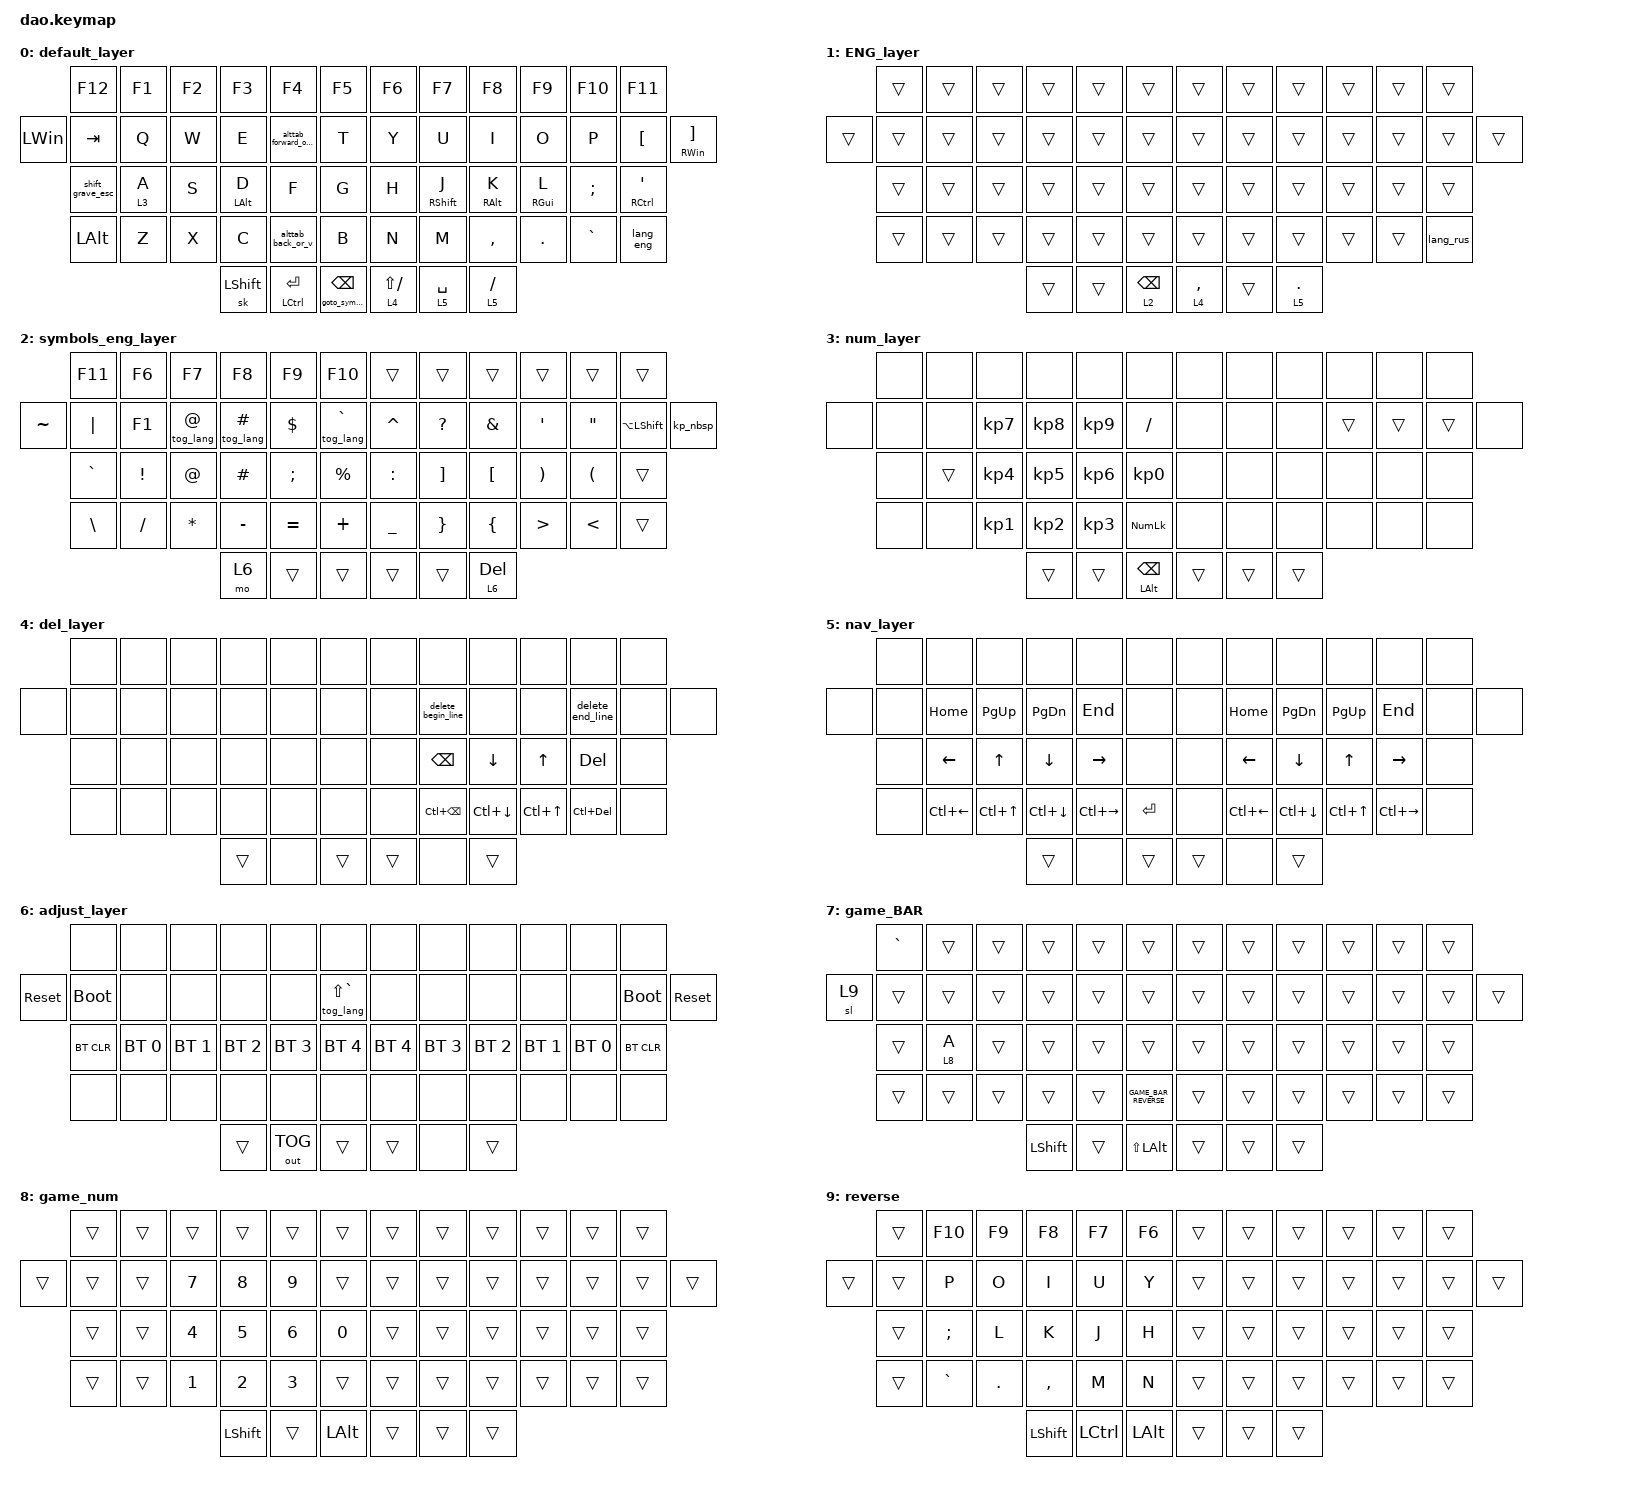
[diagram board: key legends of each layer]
/*
 * Copyright (c) 2021 Rafael Yumagulov
 *
 * SPDX-License-Identifier: MIT
 */

#include <behaviors.dtsi>
#include <dt-bindings/zmk/bt.h>
#include <dt-bindings/zmk/keys.h>
#include <dt-bindings/zmk/outputs.h>

#define DEF 0
#define LWR 1
#define RSE 2
#define ADJ 3
#define LR_NUM 4
#define LR_DEL 5
#define LR_NAV 6

&lt {
    quick_tap_ms = <200>;
    flavor = "balanced";
};

&mt {
};

&sl {
    ignore-modifiers;
    release-after-ms = <3000>;
};

/ {
    macros {
        delete_end_line: delete_end_line {
            label = "delete_end_line";
            compatible = "zmk,behavior-macro";
            #binding-cells = <0>;
            bindings = <&macro_tap>, <&kp LS(END) &kp DEL>;
        };

        delete_begin_line: delete_begin_line {
            label = "delete_begin_line";
            compatible = "zmk,behavior-macro";
            #binding-cells = <0>;
            bindings = <&macro_tap>, <&kp LS(HOME) &kp DEL>;
        };

        lang_shift: lang_shift {
            compatible = "zmk,behavior-macro";
            #binding-cells = <0>;
            bindings = <&kp LA(LSHIFT) &tog 1>;
            label = "LANG_SHIFT";
        };

        lang_eng: lang_eng {
            compatible = "zmk,behavior-macro";
            #binding-cells = <0>;
            bindings = <&kp LA(LSHIFT) &to 1>;
            label = "LANG_ENG";
        };

        lang_rus: lang_rus {
            compatible = "zmk,behavior-macro";
            #binding-cells = <0>;
            bindings = <&kp LA(LSHIFT) &to 0>;
            label = "LANG_RUS";
        };

        goto_symbol_layer_changelang: goto_symbol_layer_changelang {
            compatible = "zmk,behavior-macro";
            #binding-cells = <0>;
            bindings =
                <&macro_wait_time 0>,
                <&macro_tap_time 0>,
                <&macro_tap>,
                <&kp LA(LEFT_SHIFT)>,
                <&macro_press>,
                <&mo 2>,
                <&macro_pause_for_release>,
                <&macro_release>,
                <&mo 2>,
                <&macro_tap>,
                <&kp LA(LEFT_SHIFT)>;

            label = "GOTO_SYMBOL_LAYER_CHANGELANG";
            tap-ms = <1>;
            wait-ms = <1>;
        };

        tog_lang: tog_lang {
            compatible = "zmk,behavior-macro-one-param";
            #binding-cells = <1>;
            bindings =
                <&macro_tap>,
                <&kp LA(LEFT_SHIFT) &macro_param_1to1 &kp MACRO_PLACEHOLDER>,
                <&macro_tap>,
                <&kp LA(LEFT_SHIFT)>;

            label = "TOG_LANG";
            tap-ms = <1>;
            wait-ms = <1>;
        };

        kp_nbsp: kp_nbsp {
            compatible = "zmk,behavior-macro";
            #binding-cells = <0>;
            bindings =
                <&macro_press>,
                <&kp LEFT_ALT>,
                <&macro_tap>,
                <&kp KP_N0 &kp KP_NUMBER_1 &kp KP_NUMBER_6 &kp KP_NUMBER_0>,
                <&macro_release>,
                <&kp LALT>;

            label = "KP_NBSP";
        };

        sl_w_modifier: new_macro {
            compatible = "zmk,behavior-macro-two-param";
            #binding-cells = <2>;
            bindings =
                <&macro_press>,
                <&macro_param_1to1 &kp MACRO_PLACEHOLDER &macro_param_2to1 &sl MACRO_PLACEHOLDER>,
                <&macro_pause_for_release>,
                <&macro_release>,
                <&macro_param_1to1 &kp MACRO_PLACEHOLDER>;

            label = "NEW_MACRO";
        };
    };
};

/ {
    behaviors {
        alttab_back_or_v: alt_tab_backward {
            compatible = "zmk,behavior-mod-morph";
            label = "ALT_TAB_V";
            #binding-cells = <0>;
            bindings = <&kp V>, <&kp LS(TAB)>;

            mods = <(MOD_LALT)>;
            keep-mods = <(MOD_LALT)>;
        };

        alttab_forward_or_r: alt_tab_forward {
            compatible = "zmk,behavior-mod-morph";
            label = "ALT_TAB_R";
            #binding-cells = <0>;
            bindings = <&kp R>, <&kp TAB>;

            mods = <(MOD_LALT)>;
            keep-mods = <(MOD_LALT)>;
        };

        ALT: alt_for_alttab {
            compatible = "zmk,behavior-hold-tap";
            label = "ALTTAB";
            #binding-cells = <2>;
            flavor = "tap-preferred";
            tapping-term-ms = <150>;
            retro-tap;
            bindings = <&kp>, <&kp>;

            hold-trigger-key-positions = <17 42>;
        };

        shift_grave_esc: shift_grave_esc {
            compatible = "zmk,behavior-mod-morph";
            label = "SHIFT_GRAVE_ESC";
            bindings = <&kp ESC>, <&kp LS(GRAVE)>;

            #binding-cells = <0>;
            mods = <(MOD_LSFT)>;
            keep-mods = <(MOD_LSFT)>;
        };

        SYM_LAYER_or_tap: SYM_LAYER_or_tap {
            compatible = "zmk,behavior-hold-tap";
            label = "SYM_LAYER_OR_TAP";
            bindings = <&goto_symbol_layer_changelang>, <&kp>;

            #binding-cells = <2>;
            flavor = "balanced";
            tapping-term-ms = <150>;
        };

        homerow_right: homerow_right {
            compatible = "zmk,behavior-hold-tap";
            label = "HOMEROW_RIGHT";
            bindings = <&kp>, <&kp>;

            #binding-cells = <2>;
            hold-trigger-key-positions = <12 26 13 0 1 14 27 39 38 40 28 15 2 3 29 16 41 42 30 17 4 5 18 43 31 51 50 52>;
            flavor = "tap-preferred";
            retro-tap;
            tapping-term-ms = <200>;
        };

        hold_pref_ht: hold_pref_ht {
            compatible = "zmk,behavior-hold-tap";
            label = "HOLD_PREF_HT";
            bindings = <&mo>, <&kp>;

            #binding-cells = <2>;
            tapping-term-ms = <100>;
        };

        GAME_BAR_REVERSE: GAME_BAR_REVERSE {
            compatible = "zmk,behavior-mod-morph";
            label = "GAME_BAR_REVERSE";
            bindings = <&trans>, <&mo 9>;

            #binding-cells = <0>;
            mods = <(MOD_LCTL)>;
        };
    };
};

/ {
    combos {
        compatible = "zmk,combos";

        combo_navigatio {
            timeout-ms = <70>;
            key-positions = <51 43>;
            bindings = <&mo 5>;
        };

        combo_collapse {
            timeout-ms = <50>;
            key-positions = <30 42>;
            bindings = <&kp LG(M)>;
        };

        combo_printscreen {
            timeout-ms = <50>;
            key-positions = <30 17>;
            bindings = <&kp RG(RS(S))>;
        };

        combo_ctl_enter {
            timeout-ms = <30>;
            key-positions = <31 18>;
            bindings = <&kp LC(RET)>;
        };

        goto_default_layer {
            bindings = <&to 0>;
            key-positions = <12 25>;
            timeout-ms = <200>;
            layers = <1>;
        };

        ctrl_shift {
            bindings = <&kp LC(LEFT_SHIFT)>;
            key-positions = <51 50>;
            timeout-ms = <100>;
        };

        go_to_eng_layer {
            bindings = <&to 1>;
            key-positions = <12 25>;
            timeout-ms = <200>;
            layers = <0>;
        };

        TOGGLE_GAME_MOD {
            bindings = <&tog 7>;
            key-positions = <5 4 3 2>;
            timeout-ms = <200>;
        };

        go_to_reverse {
            bindings = <&mo 9>;
            key-positions = <51 43>;
            timeout-ms = <200>;
            layers = <7>;
        };
    };
};

/ {
    keymap {
        compatible = "zmk,keymap";

        default_layer {
            // -----------------------------------------------------------------------------------------
            // |  GUI |   ~  |  Q  |  W  |  E  |  R  |  T  |   |  Y  |  U   |  I  |  O  |  P  |  [   | GUI/] |
            //        | CTRL |  A  |  S  |  D  |  F  |  G  |   |  H  |  J   |  K  |  L  |  ;  |CTRL/'|
            //        | LALT |  Z  |  X  |  C  |  V  |  B  |   |  N  |  M   |  ,  |  .  |  /  | RALT |
            //                           | RSE | SPC | LWR |   | LWR | BKSP | RSE |

            bindings = <
          &kp F12           &kp F1   &kp F2  &kp F3       &kp F4                &kp F5                           &kp F6          &kp F7                        &kp F8                      &kp F9                      &kp F10    &kp F11
&kp LWIN  &kp TAB           &kp Q    &kp W   &kp E        &alttab_forward_or_r  &kp T                            &kp Y           &kp U                         &kp I                       &kp O                       &kp P      &kp LBKT       &mt RWIN RBKT
          &shift_grave_esc  &lt 3 A  &kp S   &ALT LALT D  &kp F                 &kp G                            &kp H           &homerow_right RIGHT_SHIFT J  &homerow_right RIGHT_ALT K  &homerow_right RIGHT_GUI L  &kp SEMI   &mt RCTRL SQT
          &kp LALT          &kp Z    &kp X   &kp C        &alttab_back_or_v     &kp B                            &kp N           &kp M                         &kp COMMA                   &kp DOT                     &kp GRAVE  &lang_eng
                                             &sk LSHFT    &mt LCTRL RET         &SYM_LAYER_or_tap 0 BACKSPACE    &lt 4 LS(FSLH)  &lt 5 SPACE                   &lt 5 FSLH
            >;
        };

        ENG_layer {
            bindings = <
        &trans  &trans  &trans  &trans  &trans  &trans        &trans       &trans  &trans     &trans  &trans  &trans
&trans  &trans  &trans  &trans  &trans  &trans  &trans        &trans       &trans  &trans     &trans  &trans  &trans     &trans
        &trans  &trans  &trans  &trans  &trans  &trans        &trans       &trans  &trans     &trans  &trans  &trans
        &trans  &trans  &trans  &trans  &trans  &trans        &trans       &trans  &trans     &trans  &trans  &lang_rus
                                &trans  &trans  &lt 2 BSPC    &lt 4 COMMA  &trans  &lt 5 DOT
            >;
        };

        symbols_eng_layer {
            // -----------------------------------------------------------------------------------------
            // |     |  _  |  F1 |  F2 |  F3 |  F4 |  F5 |   |  F6 |  F7 |  F8 |  F9 | F10 | F11 | F12 |
            //       |  +  |  !  |  @  |  #  |  $  |  %  |   |  ^  |  &  |  *  |  (  |  )  |  -  |
            //       |  =  |  1  |  2  |  3  |  4  |  5  |   |  6  |  7  |  8  |  9  |  0  |     |
            //                    | GUI |     | SPC |   | ENT |     | ALT |

            bindings = <
           &kp F11        &kp F6     &kp F7        &kp F8          &kp F9     &kp F10            &trans     &trans             &trans            &trans            &trans             &trans
&kp TILDE  &kp PIPE       &kp F1     &tog_lang AT  &tog_lang HASH  &kp DLLR   &tog_lang GRAVE    &kp CARET  &kp QUESTION       &kp AMPERSAND     &kp SINGLE_QUOTE  &kp DOUBLE_QUOTES  &kp LA(LSHFT)  &kp_nbsp
           &kp GRAVE      &kp EXCL   &kp AT        &kp HASH        &kp SEMI   &kp PRCNT          &kp COLON  &kp RIGHT_BRACKET  &kp LEFT_BRACKET  &kp RPAR          &kp LPAR           &trans
           &kp BACKSLASH  &kp SLASH  &kp ASTERISK  &kp MINUS       &kp EQUAL  &kp PLUS           &kp UNDER  &kp RIGHT_BRACE    &kp LEFT_BRACE    &kp GREATER_THAN  &kp LESS_THAN      &trans
                                                   &mo 6           &trans     &trans             &trans     &trans             &lt 6 DEL
            >;
        };

        num_layer {
            bindings = <
       &none  &none   &none            &none            &none            &none                     &none   &none   &none   &none   &none   &none
&none  &none  &none   &kp KP_NUMBER_7  &kp KP_NUMBER_8  &kp KP_NUMBER_9  &kp SLASH                 &none   &none   &none   &trans  &trans  &trans  &none
       &none  &trans  &kp KP_NUMBER_4  &kp KP_NUMBER_5  &kp KP_NUMBER_6  &kp KP_NUMBER_0           &none   &none   &none   &none   &none   &none
       &none  &none   &kp KP_NUMBER_1  &kp KP_NUMBER_2  &kp KP_NUMBER_3  &kp KP_NUMLOCK            &none   &none   &none   &none   &none   &none
                                       &trans           &trans           &mt LEFT_ALT BACKSPACE    &trans  &trans  &trans
            >;
        };

        del_layer {
            bindings = <
       &none  &none  &none  &none   &none  &none     &none   &none               &none         &none       &none             &none
&none  &none  &none  &none  &none   &none  &none     &none   &delete_begin_line  &none         &none       &delete_end_line  &none  &none
       &none  &none  &none  &none   &none  &none     &none   &kp BSPC            &kp DOWN      &kp UP      &kp DEL           &none
       &none  &none  &none  &none   &none  &none     &none   &kp LC(BSPC)        &kp LC(DOWN)  &kp LC(UP)  &kp LC(DEL)       &none
                            &trans  &none  &trans    &trans  &none               &trans
            >;
        };

        nav_layer {
            bindings = <
       &none  &none         &none       &none          &none          &none      &none   &none         &none         &none       &none          &none
&none  &none  &kp HOME      &kp PG_UP   &kp PAGE_DOWN  &kp END        &none      &none   &kp HOME      &kp PG_DN     &kp PG_UP   &kp END        &none  &none
       &none  &kp LEFT      &kp UP      &kp DOWN       &kp RIGHT      &none      &none   &kp LEFT      &kp DOWN      &kp UP      &kp RIGHT      &none
       &none  &kp LC(LEFT)  &kp LC(UP)  &kp LC(DOWN)   &kp LC(RIGHT)  &kp RET    &none   &kp LC(LEFT)  &kp LC(DOWN)  &kp LC(UP)  &kp LC(RIGHT)  &none
                                        &trans         &none          &trans     &trans  &none         &trans
            >;
        };

        adjust_layer {
            // -----------------------------------------------------------------------------------------
            // | RST | BLDR |     |     |     |     |     |   |     |     |     |     |     | BLDR | RST |
            //       | BTCLR| BT0 | BT1 | BT2 | BT3 | BT4 |   | BT4 | BT3 | BT2 | BT1 | BT0 | BTCLR|
            //       |      |     |     |     |     |     |   |     |     |     |     |     |      |
            //                          |     |     |     |   |     |     |     |

            bindings = <
            &none        &none         &none         &none         &none         &none                  &none         &none         &none         &none         &none         &none
&sys_reset  &bootloader  &none         &none         &none         &none         &tog_lang LS(GRAVE)    &none         &none         &none         &none         &none         &bootloader  &sys_reset
            &bt BT_CLR   &bt BT_SEL 0  &bt BT_SEL 1  &bt BT_SEL 2  &bt BT_SEL 3  &bt BT_SEL 4           &bt BT_SEL 4  &bt BT_SEL 3  &bt BT_SEL 2  &bt BT_SEL 1  &bt BT_SEL 0  &bt BT_CLR
            &none        &none         &none         &none         &none         &none                  &none         &none         &none         &none         &none         &none
                                                     &trans        &out OUT_TOG  &trans                 &trans        &none         &trans
            >;
        };

        game_BAR {
            bindings = <
       &kp GRAVE  &trans   &trans  &trans          &trans  &trans               &trans  &trans  &trans  &trans  &trans  &trans
&sl 9  &trans     &trans   &trans  &trans          &trans  &trans               &trans  &trans  &trans  &trans  &trans  &trans  &trans
       &trans     &lt 8 A  &trans  &trans          &trans  &trans               &trans  &trans  &trans  &trans  &trans  &trans
       &trans     &trans   &trans  &trans          &trans  &GAME_BAR_REVERSE    &trans  &trans  &trans  &trans  &trans  &trans
                                   &kp LEFT_SHIFT  &trans  &kp LS(LEFT_ALT)     &trans  &trans  &trans
            >;
        };

        game_num {
            bindings = <
        &trans  &trans  &trans  &trans      &trans  &trans          &trans  &trans  &trans  &trans  &trans  &trans
&trans  &trans  &trans  &kp N7  &kp N8      &kp N9  &trans          &trans  &trans  &trans  &trans  &trans  &trans  &trans
        &trans  &trans  &kp N4  &kp N5      &kp N6  &kp N0          &trans  &trans  &trans  &trans  &trans  &trans
        &trans  &trans  &kp N1  &kp N2      &kp N3  &trans          &trans  &trans  &trans  &trans  &trans  &trans
                                &kp LSHIFT  &trans  &kp LEFT_ALT    &trans  &trans  &trans
            >;
        };

        reverse {
            bindings = <
        &trans  &kp F10    &kp F9   &kp F8          &kp F7     &kp F6          &trans  &trans  &trans  &trans  &trans  &trans
&trans  &trans  &kp P      &kp O    &kp I           &kp U      &kp Y           &trans  &trans  &trans  &trans  &trans  &trans  &trans
        &trans  &kp SEMI   &kp L    &kp K           &kp J      &kp H           &trans  &trans  &trans  &trans  &trans  &trans
        &trans  &kp GRAVE  &kp DOT  &kp COMMA       &kp M      &kp N           &trans  &trans  &trans  &trans  &trans  &trans
                                    &kp LEFT_SHIFT  &kp LCTRL  &kp LEFT_ALT    &trans  &trans  &trans
            >;
        };
    };
};
